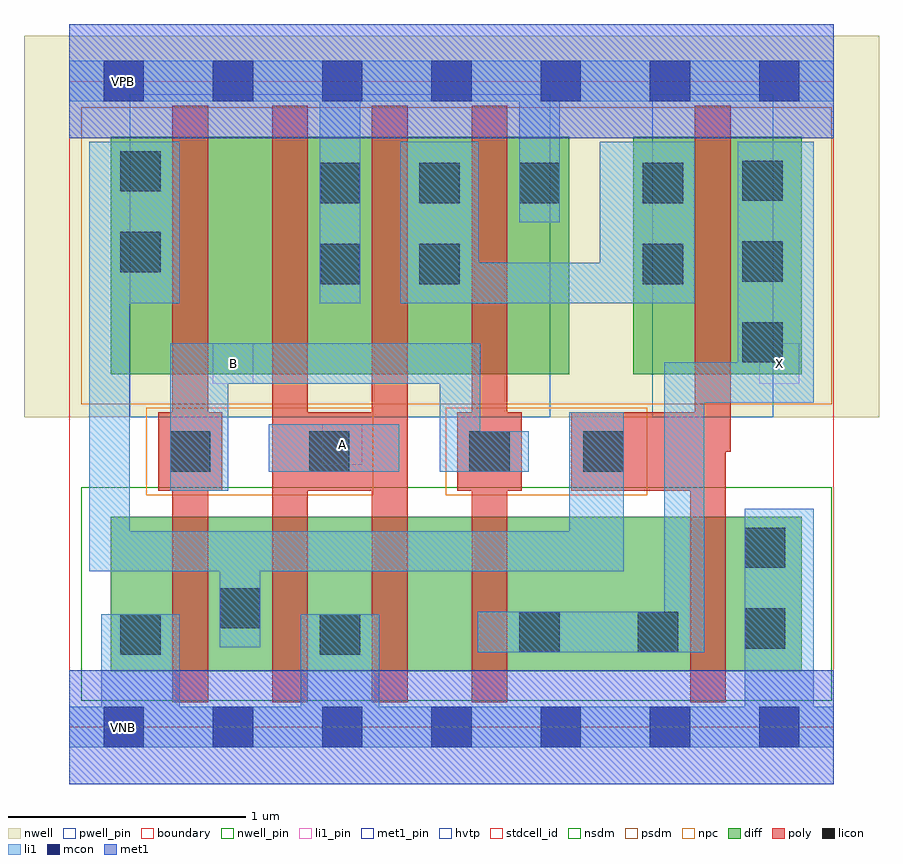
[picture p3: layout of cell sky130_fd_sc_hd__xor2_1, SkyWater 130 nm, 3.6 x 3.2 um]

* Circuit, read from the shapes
.subckt sky130_fd_sc_hd__xor2_1 A B VGND VNB VPB VPWR X
XM1 n1 B VGND VNB sky130_fd_pr__nfet_01v8 w=0.65 l=0.15
XM2 VGND A n1 VNB sky130_fd_pr__nfet_01v8 w=0.65 l=0.15
XM3 n2 A VGND VNB sky130_fd_pr__nfet_01v8 w=0.65 l=0.15
XM4 X B n2 VNB sky130_fd_pr__nfet_01v8 w=0.65 l=0.15
XM5 VGND n1 X VNB sky130_fd_pr__nfet_01v8 w=0.65 l=0.15
XM6 n3 B n1 VPB sky130_fd_pr__pfet_01v8_hvt w=1 l=0.15
XM7 VPWR A n3 VPB sky130_fd_pr__pfet_01v8_hvt w=1 l=0.15
XM8 n4 A VPWR VPB sky130_fd_pr__pfet_01v8_hvt w=1 l=0.15
XM9 VPWR B n4 VPB sky130_fd_pr__pfet_01v8_hvt w=1 l=0.15
XM10 X n1 n4 VPB sky130_fd_pr__pfet_01v8_hvt w=1 l=0.15
.ends

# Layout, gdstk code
import gdstk
lib = gdstk.Library(unit=1e-6, precision=1e-09)
def R(c, l, rs):  # rectangles x0, y0, x1, y1
    for r in rs: c.add(gdstk.rectangle(r[:2], r[2:], *l))
def A(c, l, x, y, w, h, nx, ny, dx, dy):  # array of equal rectangles
    R(c, l, [(x+i*dx, y+j*dy, x+i*dx+w, y+j*dy+h) for i in range(nx) for j in range(ny)])
nwell_pin = (64, 16)
nwell = (64, 20)
diff = (65, 20)
poly = (66, 20)
licon = (66, 44)
li1_pin = (67, 16)
li1 = (67, 20)
mcon = (67, 44)
met1_pin = (68, 16)
met1 = (68, 20)
hvtp = (78, 44)
stdcell_id = (81, 4)
nsdm = (93, 44)
psdm = (94, 20)
npc = (95, 20)
pwell_pin = (122, 16)
boundary = (235, 4)

sky130_fd_sc_hd__xor2_1 = lib.new_cell('sky130_fd_sc_hd__xor2_1')
R(sky130_fd_sc_hd__xor2_1, nwell_pin, [(0.145,2.635,0.315,2.805)])
R(sky130_fd_sc_hd__xor2_1, nwell, [(-0.19,1.305,3.41,2.91)])
R(sky130_fd_sc_hd__xor2_1, diff, [(0.175,0.235,3.085,0.885), (0.175,1.485,2.105,2.485), (2.375,1.485,3.085,2.485)])
A(sky130_fd_sc_hd__xor2_1, poly, 0.435, 0.105, 0.15, 0.89, 4, 1, 0.42, 0)
A(sky130_fd_sc_hd__xor2_1, poly, 0.435, 1.325, 0.15, 1.29, 4, 1, 0.42, 0)
R(sky130_fd_sc_hd__xor2_1, poly, [(2.615,0.105,2.765,0.995), (0.375,0.995,0.645,1.325), (0.855,0.995,1.425,1.325), (1.635,0.995,1.905,1.325), (2.115,0.995,2.765,1.16), (2.115,1.16,2.785,1.325), (2.635,1.325,2.785,2.615)])
A(sky130_fd_sc_hd__xor2_1, licon, 2.835, 1.535, 0.17, 0.17, 1, 3, 0, 0.34)
A(sky130_fd_sc_hd__xor2_1, licon, 1.055, 2.205, 0.17, 0.17, 3, 1, 0.42, 0)
R(sky130_fd_sc_hd__xor2_1, licon, [(0.215,0.305,0.385,0.475), (1.055,0.305,1.225,0.475), (1.895,0.315,2.065,0.485), (2.395,0.315,2.565,0.485), (2.845,0.33,3.015,0.5), (0.635,0.415,0.805,0.585), (2.845,0.67,3.015,0.84), (0.425,1.075,0.595,1.245), (1.01,1.075,1.18,1.245), (1.685,1.075,1.855,1.245), (2.165,1.075,2.335,1.245), (1.055,1.865,1.225,2.035), (1.475,1.865,1.645,2.035), (2.415,1.865,2.585,2.035), (0.215,1.915,0.385,2.085), (2.415,2.205,2.585,2.375), (0.215,2.255,0.385,2.425)])
R(sky130_fd_sc_hd__xor2_1, li1_pin, [(1.065,1.105,1.235,1.275), (0.605,1.445,0.775,1.615), (2.905,1.445,3.075,1.615)])
R(sky130_fd_sc_hd__xor2_1, li1, [(0,-0.085,3.22,0.085), (0.135,0.085,0.465,0.475), (0.975,0.085,1.305,0.475), (2.845,0.085,3.135,0.92), (1.72,0.315,2.675,0.485), (0.635,0.335,0.805,0.655), (2.505,0.485,2.675,1.365), (0.085,0.655,2.335,0.825), (0.085,0.825,0.255,1.785), (2.105,0.825,2.335,1.325), (0.425,0.995,0.67,1.445), (0.84,1.075,1.39,1.275), (1.56,1.075,1.935,1.245), (1.56,1.245,1.73,1.445), (2.505,1.365,3.135,1.535), (0.425,1.445,1.73,1.615), (2.815,1.535,3.135,2.465), (0.085,1.785,0.465,2.465), (1.055,1.785,1.225,2.635), (1.395,1.785,2.635,1.955), (1.395,1.955,1.725,2.465), (2.235,1.955,2.635,2.465), (1.895,2.125,2.065,2.635), (0,2.635,3.22,2.805)])
A(sky130_fd_sc_hd__xor2_1, mcon, 0.145, -0.085, 0.17, 0.17, 7, 2, 0.46, 2.72)
R(sky130_fd_sc_hd__xor2_1, met1_pin, [(0.145,-0.085,0.315,0.085), (0.145,2.635,0.315,2.805)])
R(sky130_fd_sc_hd__xor2_1, met1, [(0,-0.24,3.22,0.24), (0,2.48,3.22,2.96)])
R(sky130_fd_sc_hd__xor2_1, hvtp, [(0.255,1.305,2.025,2.665), (2.455,1.305,2.965,2.665)])
R(sky130_fd_sc_hd__xor2_1, stdcell_id, [(0,0,3.22,2.72)])
R(sky130_fd_sc_hd__xor2_1, nsdm, [(0.05,0.11,3.21,1.01)])
R(sky130_fd_sc_hd__xor2_1, psdm, [(0.05,1.36,3.21,2.61)])
R(sky130_fd_sc_hd__xor2_1, npc, [(0.325,0.975,1.28,1.345), (1.585,0.975,2.435,1.345)])
R(sky130_fd_sc_hd__xor2_1, pwell_pin, [(0.145,-0.085,0.315,0.085)])
R(sky130_fd_sc_hd__xor2_1, boundary, [(0,0,3.22,2.72)])
sky130_fd_sc_hd__xor2_1.add(gdstk.Label('VNB', (0.23,0), layer=64, texttype=59))
sky130_fd_sc_hd__xor2_1.add(gdstk.Label('VPB', (0.23,2.72), layer=64, texttype=5))
sky130_fd_sc_hd__xor2_1.add(gdstk.Label('VPWR', (0.23,2.72), layer=68, texttype=5))
sky130_fd_sc_hd__xor2_1.add(gdstk.Label('VGND', (0.23,0), layer=68, texttype=5))
sky130_fd_sc_hd__xor2_1.add(gdstk.Label('A', (1.15,1.19), layer=67, texttype=5))
sky130_fd_sc_hd__xor2_1.add(gdstk.Label('X', (2.99,1.53), layer=67, texttype=5))
sky130_fd_sc_hd__xor2_1.add(gdstk.Label('B', (0.69,1.53), layer=67, texttype=5))

lib.write_gds('sky130_fd_sc_hd__xor2_1.gds')
